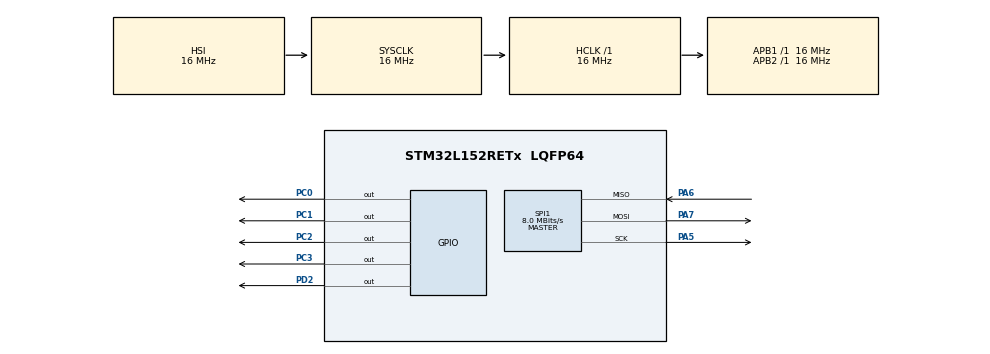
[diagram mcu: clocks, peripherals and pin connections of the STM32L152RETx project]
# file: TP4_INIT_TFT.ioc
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Mcu.Family=STM32L1
Mcu.Name=STM32L152RETx
Mcu.Package=LQFP64
NVIC.PriorityGroup=NVIC_PRIORITYGROUP_4
PA5.Mode=Full_Duplex_Master
PA5.Signal=SPI1_SCK
PA6.Mode=Full_Duplex_Master
PA6.Signal=SPI1_MISO
PA7.Mode=Full_Duplex_Master
PA7.Signal=SPI1_MOSI
PB15.Signal=S_TIM11_CH1
PB7.Signal=S_TIM4_CH2
PC0.Signal=GPIO_Output
PC1.PinState=GPIO_PIN_SET
PC1.Signal=GPIO_Output
PC2.PinState=GPIO_PIN_SET
PC2.Signal=GPIO_Output
PC3.PinState=GPIO_PIN_SET
PC3.Signal=GPIO_Output
PD2.PinState=GPIO_PIN_SET
PD2.Signal=GPIO_Output
ProjectManager.HeapSize=0x200
ProjectManager.StackSize=0x400
ProjectManager.TargetToolchain=STM32CubeIDE
RCC.AHBFreq_Value=16000000
RCC.APB1Freq_Value=16000000
RCC.APB1TimFreq_Value=16000000
RCC.APB2Freq_Value=16000000
RCC.APB2TimFreq_Value=16000000
RCC.HCLKFreq_Value=16000000
RCC.HSE_VALUE=24000000
RCC.HSI_VALUE=16000000
RCC.LSE_VALUE=32768
RCC.MSI_VALUE=2097000
RCC.SYSCLKFreq_VALUE=16000000
RCC.SYSCLKSource=RCC_SYSCLKSOURCE_HSI
RCC.VCOOutputFreq_Value=48000000
SH.S_TIM11_CH1.0=TIM11_CH1
SH.S_TIM4_CH2.0=TIM4_CH2
SPI1.CalculateBaudRate=8.0 MBits/s
SPI1.Direction=SPI_DIRECTION_2LINES
SPI1.Mode=SPI_MODE_MASTER
SPI1.VirtualType=VM_MASTER
board=custom

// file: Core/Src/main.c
/* USER CODE BEGIN Header */
/**
  ******************************************************************************
  * @file           : main.c
  * @brief          : Main program body
  ******************************************************************************
  * @attention
  *
  * Copyright (c) 2025 STMicroelectronics.
  * All rights reserved.
  *
  * This software is licensed under terms that can be found in the LICENSE file
  * in the root directory of this software component.
  * If no LICENSE file comes with this software, it is provided AS-IS.
  *
  ******************************************************************************
  */
/* USER CODE END Header */
#include "main.h"

/* USER CODE BEGIN Includes */
#include "max7219.h"
#include "fonc_tft.h"
#include <stdlib.h>

/* USER CODE END Includes */

SPI_HandleTypeDef hspi1;

void SystemClock_Config(void);
static void MX_GPIO_Init(void);
static void MX_SPI1_Init(void);
/* USER CODE BEGIN PFP */
void affiche_nombre(char nombre[], uint8_t col, uint8_t ligne);

/* USER CODE END PFP */

/* USER CODE BEGIN 0 */
void affiche_nombre(char nombre[], uint8_t col, uint8_t ligne) {
	int nombre_int = atoi(nombre);

    if (nombre_int < 0 || nombre_int > 9999) {
        return;
    }

    uint8_t mil = nombre_int / 1000;
    uint8_t cen = (nombre_int / 100) % 10;
    uint8_t diz = (nombre_int / 10) % 10;
    uint8_t uni = nombre_int % 10;

    displayChar_TFT(col, ligne, mil + 0x30, ST7735_YELLOW, ST7735_BLACK, 2);
    displayChar_TFT(col + 12, ligne, cen + 0x30, ST7735_YELLOW, ST7735_BLACK, 2);
    displayChar_TFT(col + 24, ligne, diz + 0x30, ST7735_YELLOW, ST7735_BLACK, 2);
    displayChar_TFT(col + 36, ligne, uni + 0x30, ST7735_YELLOW, ST7735_BLACK, 2);
}

/* USER CODE END 0 */

int main(void)
{

  /* MCU Configuration--------------------------------------------------------*/

  /* Reset of all peripherals, Initializes the Flash interface and the Systick. */
  HAL_Init();

  /* Configure the system clock */
  SystemClock_Config();

  /* Initialize all configured peripherals */
  MX_GPIO_Init();
  MX_SPI1_Init();
  /* USER CODE BEGIN 2 */
  MAX7219_Init();
  init_TFT();
  MAX7219_Clear();

  /* USER CODE END 2 */

  /* Infinite loop */
  /* USER CODE BEGIN WHILE */
  char nombre[] = "4090";
  while (1)
  {
    /* USER CODE END WHILE */

    /* USER CODE BEGIN 3 */
	affiche_nombre(nombre, 10, 80);
  }

  /* USER CODE END 3 */
}

void SystemClock_Config(void)
{
  RCC_OscInitTypeDef RCC_OscInitStruct = {0};
  RCC_ClkInitTypeDef RCC_ClkInitStruct = {0};

  /** Configure the main internal regulator output voltage
  */
  __HAL_PWR_VOLTAGESCALING_CONFIG(PWR_REGULATOR_VOLTAGE_SCALE1);

  /** Initializes the RCC Oscillators according to the specified parameters
  * in the RCC_OscInitTypeDef structure.
  */
  RCC_OscInitStruct.OscillatorType = RCC_OSCILLATORTYPE_HSI;
  RCC_OscInitStruct.HSIState = RCC_HSI_ON;
  RCC_OscInitStruct.HSICalibrationValue = RCC_HSICALIBRATION_DEFAULT;
  RCC_OscInitStruct.PLL.PLLState = RCC_PLL_NONE;
  if (HAL_RCC_OscConfig(&RCC_OscInitStruct) != HAL_OK)
  {
    Error_Handler();
  }

  /** Initializes the CPU, AHB and APB buses clocks
  */
  RCC_ClkInitStruct.ClockType = RCC_CLOCKTYPE_HCLK|RCC_CLOCKTYPE_SYSCLK
                              |RCC_CLOCKTYPE_PCLK1|RCC_CLOCKTYPE_PCLK2;
  RCC_ClkInitStruct.SYSCLKSource = RCC_SYSCLKSOURCE_HSI;
  RCC_ClkInitStruct.AHBCLKDivider = RCC_SYSCLK_DIV1;
  RCC_ClkInitStruct.APB1CLKDivider = RCC_HCLK_DIV1;
  RCC_ClkInitStruct.APB2CLKDivider = RCC_HCLK_DIV1;

  if (HAL_RCC_ClockConfig(&RCC_ClkInitStruct, FLASH_LATENCY_0) != HAL_OK)
  {
    Error_Handler();
  }
}

static void MX_SPI1_Init(void)
{

  /* SPI1 parameter configuration*/
  hspi1.Instance = SPI1;
  hspi1.Init.Mode = SPI_MODE_MASTER;
  hspi1.Init.Direction = SPI_DIRECTION_2LINES;
  hspi1.Init.DataSize = SPI_DATASIZE_8BIT;
  hspi1.Init.CLKPolarity = SPI_POLARITY_LOW;
  hspi1.Init.CLKPhase = SPI_PHASE_1EDGE;
  hspi1.Init.NSS = SPI_NSS_SOFT;
  hspi1.Init.BaudRatePrescaler = SPI_BAUDRATEPRESCALER_2;
  hspi1.Init.FirstBit = SPI_FIRSTBIT_MSB;
  hspi1.Init.TIMode = SPI_TIMODE_DISABLE;
  hspi1.Init.CRCCalculation = SPI_CRCCALCULATION_DISABLE;
  hspi1.Init.CRCPolynomial = 10;
  if (HAL_SPI_Init(&hspi1) != HAL_OK)
  {
    Error_Handler();
  }

}

static void MX_GPIO_Init(void)
{
  GPIO_InitTypeDef GPIO_InitStruct = {0};

  /* GPIO Ports Clock Enable */
  __HAL_RCC_GPIOC_CLK_ENABLE();
  __HAL_RCC_GPIOA_CLK_ENABLE();
  __HAL_RCC_GPIOB_CLK_ENABLE();
  __HAL_RCC_GPIOD_CLK_ENABLE();

  /*Configure GPIO pin Output Level */
  HAL_GPIO_WritePin(GPIOC, GPIO_PIN_0, GPIO_PIN_RESET);

  /*Configure GPIO pin Output Level */
  HAL_GPIO_WritePin(GPIOC, GPIO_PIN_1|GPIO_PIN_2|GPIO_PIN_3, GPIO_PIN_SET);

  /*Configure GPIO pin Output Level */
  HAL_GPIO_WritePin(GPIOD, GPIO_PIN_2, GPIO_PIN_SET);

  /*Configure GPIO pins : PC0 PC1 PC2 PC3 */
  GPIO_InitStruct.Pin = GPIO_PIN_0|GPIO_PIN_1|GPIO_PIN_2|GPIO_PIN_3;
  GPIO_InitStruct.Mode = GPIO_MODE_OUTPUT_PP;
  GPIO_InitStruct.Pull = GPIO_NOPULL;
  GPIO_InitStruct.Speed = GPIO_SPEED_FREQ_LOW;
  HAL_GPIO_Init(GPIOC, &GPIO_InitStruct);

  /*Configure GPIO pin : PB15 */
  GPIO_InitStruct.Pin = GPIO_PIN_15;
  GPIO_InitStruct.Mode = GPIO_MODE_AF_PP;
  GPIO_InitStruct.Pull = GPIO_NOPULL;
  GPIO_InitStruct.Speed = GPIO_SPEED_FREQ_LOW;
  GPIO_InitStruct.Alternate = GPIO_AF3_TIM11;
  HAL_GPIO_Init(GPIOB, &GPIO_InitStruct);

  /*Configure GPIO pin : PD2 */
  GPIO_InitStruct.Pin = GPIO_PIN_2;
  GPIO_InitStruct.Mode = GPIO_MODE_OUTPUT_PP;
  GPIO_InitStruct.Pull = GPIO_NOPULL;
  GPIO_InitStruct.Speed = GPIO_SPEED_FREQ_LOW;
  HAL_GPIO_Init(GPIOD, &GPIO_InitStruct);

  /*Configure GPIO pin : PB7 */
  GPIO_InitStruct.Pin = GPIO_PIN_7;
  GPIO_InitStruct.Mode = GPIO_MODE_AF_PP;
  GPIO_InitStruct.Pull = GPIO_NOPULL;
  GPIO_InitStruct.Speed = GPIO_SPEED_FREQ_LOW;
  GPIO_InitStruct.Alternate = GPIO_AF2_TIM4;
  HAL_GPIO_Init(GPIOB, &GPIO_InitStruct);

}

void Error_Handler(void)
{
  __disable_irq();
  while (1)
  {
  }
}
